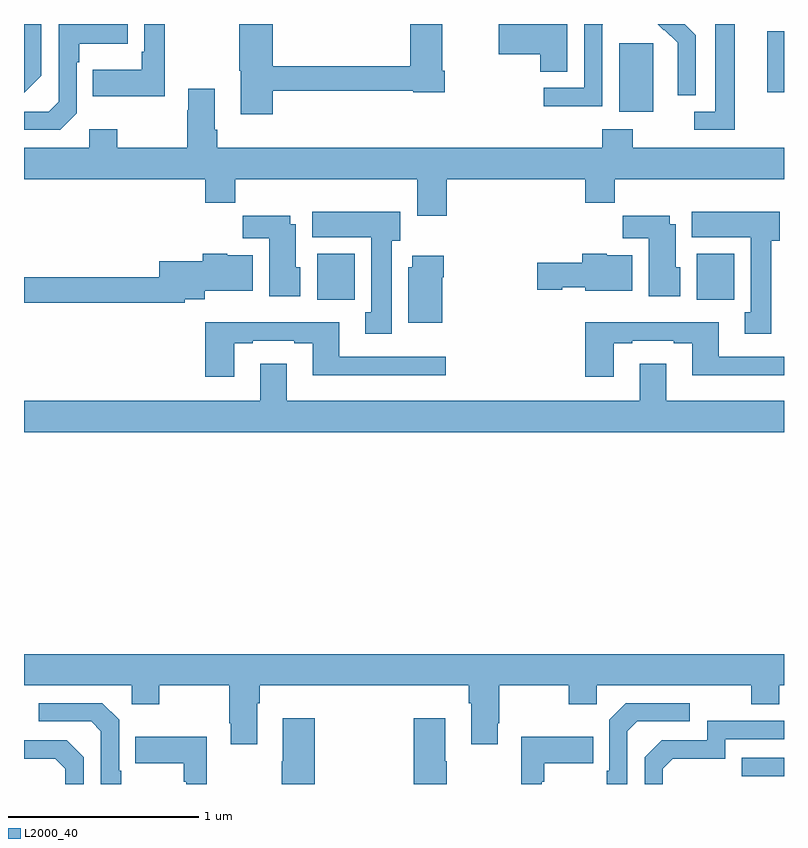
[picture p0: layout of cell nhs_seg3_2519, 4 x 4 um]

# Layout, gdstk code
import gdstk
lib = gdstk.Library(unit=1e-6, precision=1e-09)
def R(c, l, rs):  # rectangles x0, y0, x1, y1
    for r in rs: c.add(gdstk.rectangle(r[:2], r[2:], *l))
def P(c, l, *ps):  # polygons
    for p in ps: c.add(gdstk.Polygon(p, *l))
L2000_40 = (2000, 40)

nhs_seg3_2519 = lib.new_cell('nhs_seg3_2519')
R(nhs_seg3_2519, L2000_40, [(244.777,696.441,245,696.537), (242.543,698.948,242.74,699.19), (244.541,698.948,244.738,699.19), (244.133,699.938,244.312,700.299), (244.913,700.041,245,700.361)])
P(nhs_seg3_2519, L2000_40, [(242.309,700.05),(243.048,700.05),(243.048,700.042),(243.215,700.042),(243.215,700.153),(243.202,700.153),(243.202,700.4),(243.032,700.4),(243.032,700.178),(242.309,700.178),(242.309,700.4),(242.134,700.4),(242.134,700.155),(242.141,700.155),(242.141,699.924),(242.309,699.924)],
  [(244.044,700.396),(244.047,700.396),(244.047,700.4),(243.948,700.4),(243.948,700.065),(243.735,700.065),(243.735,699.967),(244.044,699.967)],
  [(244.536,700.342),(244.478,700.4),(244.336,700.4),(244.368,700.368),(244.371,700.371),(244.442,700.301),(244.442,700.178),(244.44,700.178),(244.44,700.024),(244.536,700.024)],
  [(241.741,700.4),(241.632,700.4),(241.632,700.255),(241.62,700.255),(241.62,700.159),(241.363,700.159),(241.363,700.019),(241.741,700.019)],
  [(243.859,700.4),(243.498,700.4),(243.498,700.241),(243.716,700.241),(243.716,700.15),(243.859,700.15)],
  [(241.092,700.128),(241.092,700.4),(241,700.4),(241,700.038),(241.002,700.038)],
  [(244.741,700.4),(244.637,700.4),(244.637,699.939),(244.527,699.939),(244.527,699.843),(244.741,699.843)],
  [(241.278,699.93),(241.278,700.199),(241.291,700.199),(241.291,700.295),(241.547,700.295),(241.547,700.4),(241.182,700.4),(241.182,699.99),(241.131,699.939),(241,699.939),(241,699.843),(241.191,699.843)],
  [(243.224,699.584),(243.953,699.584),(243.953,699.46),(244.109,699.46),(244.109,699.584),(245,699.584),(245,699.748),(244.203,699.748),(244.203,699.847),(244.043,699.847),(244.043,699.748),(242.018,699.748),(242.018,699.844),(242.005,699.844),(242.005,700.06),(241.865,700.06),(241.865,699.947),(241.858,699.947),(241.858,699.748),(241.491,699.748),(241.491,699.847),(241.344,699.847),(241.344,699.748),(241,699.748),(241,699.584),(241.955,699.584),(241.955,699.46),(242.111,699.46),(242.111,699.584),(243.071,699.584),(243.071,699.39),(243.224,699.39)],
  [(244.933,699.258),(244.978,699.258),(244.978,699.412),(244.514,699.412),(244.514,699.278),(244.826,699.278),(244.826,698.882),(244.793,698.882),(244.793,698.769),(244.933,698.769)],
  [(242.935,699.258),(242.98,699.258),(242.98,699.412),(242.516,699.412),(242.516,699.278),(242.828,699.278),(242.828,698.882),(242.795,698.882),(242.795,698.769),(242.935,698.769)],
  [(244.453,699.12),(244.429,699.12),(244.429,699.346),(244.399,699.346),(244.399,699.391),(244.15,699.391),(244.15,699.272),(244.289,699.272),(244.289,698.966),(244.453,698.966)],
  [(242.455,699.12),(242.431,699.12),(242.431,699.346),(242.401,699.346),(242.401,699.391),(242.152,699.391),(242.152,699.272),(242.291,699.272),(242.291,698.966),(242.455,698.966)],
  [(241.847,698.951),(241.951,698.951),(241.951,698.996),(242.203,698.996),(242.203,699.184),(242.07,699.184),(242.07,699.19),(241.94,699.19),(241.94,699.151),(241.712,699.151),(241.712,699.068),(241,699.068),(241,698.932),(241.847,698.932)],
  [(244.201,699.184),(244.068,699.184),(244.068,699.19),(243.938,699.19),(243.938,699.144),(243.702,699.144),(243.702,699.002),(243.834,699.002),(243.834,699.014),(243.954,699.014),(243.954,698.996),(244.201,698.996)],
  [(243.202,699.068),(243.21,699.068),(243.21,699.181),(243.044,699.181),(243.044,699.12),(243.023,699.12),(243.023,698.828),(243.202,698.828)],
  [(244.105,698.721),(244.201,698.721),(244.201,698.733),(244.421,698.733),(244.421,698.721),(244.517,698.721),(244.517,698.552),(245,698.552),(245,698.649),(244.657,698.649),(244.657,698.83),(243.953,698.83),(243.953,698.544),(244.105,698.544)],
  [(242.107,698.721),(242.203,698.721),(242.203,698.733),(242.423,698.733),(242.423,698.721),(242.519,698.721),(242.519,698.552),(243.22,698.552),(243.22,698.649),(242.659,698.649),(242.659,698.83),(241.955,698.83),(241.955,698.544),(242.107,698.544)],
  [(245,698.416),(244.381,698.416),(244.381,698.611),(244.241,698.611),(244.241,698.416),(242.383,698.416),(242.383,698.611),(242.243,698.611),(242.243,698.416),(241,698.416),(241,698.252),(245,698.252)],
  [(241,696.92),(241.566,696.92),(241.566,696.821),(241.713,696.821),(241.713,696.92),(242.08,696.92),(242.08,696.721),(242.087,696.721),(242.087,696.609),(242.227,696.609),(242.227,696.824),(242.24,696.824),(242.24,696.92),(243.341,696.92),(243.341,696.824),(243.353,696.824),(243.353,696.609),(243.493,696.609),(243.493,696.721),(243.501,696.721),(243.501,696.92),(243.868,696.92),(243.868,696.821),(244.014,696.821),(244.014,696.92),(244.828,696.92),(244.828,696.821),(244.975,696.821),(244.975,696.92),(245,696.92),(245,697.084),(241,697.084)],
  [(244.176,696.678),(244.227,696.729),(244.504,696.729),(244.504,696.825),(244.167,696.825),(244.08,696.738),(244.08,696.469),(244.068,696.469),(244.068,696.4),(244.176,696.4)],
  [(241.513,696.469),(241.5,696.469),(241.5,696.738),(241.413,696.825),(241.077,696.825),(241.077,696.729),(241.353,696.729),(241.404,696.678),(241.404,696.4),(241.513,696.4)],
  [(243.225,696.521),(243.217,696.521),(243.217,696.745),(243.05,696.745),(243.05,696.4),(243.225,696.4)],
  [(242.531,696.745),(242.363,696.745),(242.363,696.521),(242.356,696.521),(242.356,696.4),(242.531,696.4)],
  [(244.362,696.48),(244.415,696.533),(244.692,696.533),(244.692,696.636),(245,696.636),(245,696.732),(244.596,696.732),(244.596,696.63),(244.356,696.63),(244.266,696.54),(244.266,696.4),(244.362,696.4)],
  [(243.726,696.413),(243.739,696.413),(243.739,696.509),(243.995,696.509),(243.995,696.649),(243.618,696.649),(243.618,696.4),(243.726,696.4)],
  [(241.963,696.649),(241.585,696.649),(241.585,696.509),(241.842,696.509),(241.842,696.413),(241.854,696.413),(241.854,696.4),(241.963,696.4)],
  [(241.314,696.54),(241.224,696.63),(241,696.63),(241,696.533),(241.165,696.533),(241.218,696.48),(241.218,696.4),(241.314,696.4)])

lib.write_gds('nhs_seg3_2519.gds')
